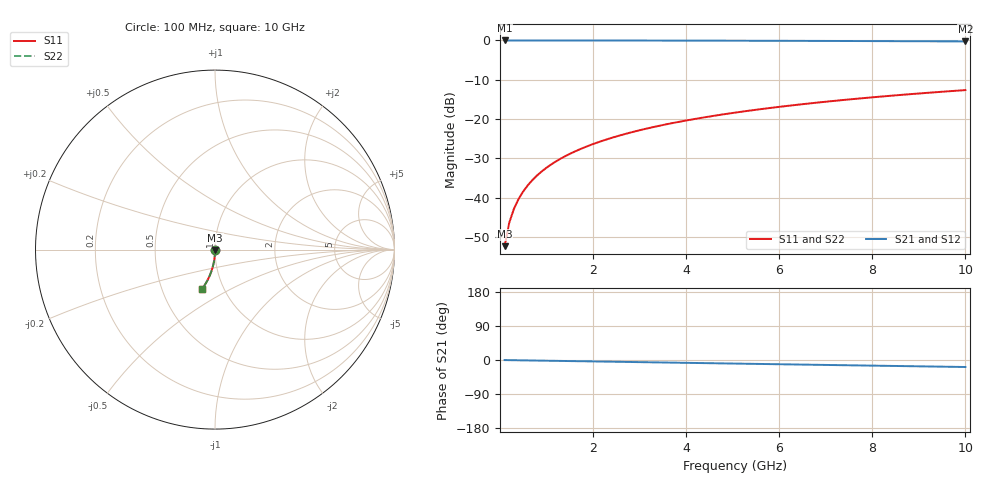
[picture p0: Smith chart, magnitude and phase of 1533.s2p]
# Hz S RI R 50.00
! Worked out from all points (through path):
!   100 points, 100 MHz to 10 GHz, reference 50 ohm
!   highest |S21| = 0.00 dB at 100 MHz (marker M1); lowest = -0.2 dB at 10 GHz (marker M2)
!   group delay of S21, straight-line fit = 5.14 ps
!   lowest |S11| = -52.3 dB at 100 MHz (marker M3), VSWR 1.00, Z = 50 - j0.241 ohm
!   |S11| at or under -10 dB: start of sweep to end of sweep
!   |S22| runs from -52.3 to -12.6 dB; largest |S21 - S12| = 0
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1e8  0.000271 -0.00241  0.9997 -0.00327  0.9997 -0.00327  0.000271 -0.00241
2e8  0.000246 -0.00482  0.9997 -0.00654  0.9997 -0.00654  0.000246 -0.00482
3e8  0.000205 -0.00724  0.9996 -0.00981  0.9996 -0.00981  0.000205 -0.00724
4e8  0.000149 -0.00965  0.9996 -0.0131  0.9996 -0.0131  0.000149 -0.00965
5e8  7.6e-05 -0.0121  0.9995 -0.0163  0.9995 -0.0163  7.6e-05 -0.0121
6e8  -1.26e-05 -0.0145  0.9994 -0.0196  0.9994 -0.0196  -1.26e-05 -0.0145
7e8  -0.000117 -0.0169  0.9993 -0.0229  0.9993 -0.0229  -0.000117 -0.0169
8e8  -0.000237 -0.0193  0.9992 -0.0261  0.9992 -0.0261  -0.000237 -0.0193
9e8  -0.000373 -0.0217  0.999 -0.0294  0.999 -0.0294  -0.000373 -0.0217
1.1e9  -0.000692 -0.0265  0.9987 -0.0359  0.9987 -0.0359  -0.000692 -0.0265
1.4e9  -0.00129 -0.0337  0.9981 -0.0457  0.9981 -0.0457  -0.00129 -0.0337
1.8e9  -0.0023 -0.0433  0.997 -0.0587  0.997 -0.0587  -0.0023 -0.0433
2.1e9  -0.00323 -0.0505  0.996 -0.0685  0.996 -0.0685  -0.00323 -0.0505
2.5e9  -0.00468 -0.06  0.9945 -0.0814  0.9945 -0.0814  -0.00468 -0.06
2.9e9  -0.00638 -0.0695  0.9927 -0.0943  0.9927 -0.0943  -0.00638 -0.0695
3.4e9  -0.00885 -0.0812  0.9901 -0.1104  0.9901 -0.1104  -0.00885 -0.0812
4.2e9  -0.0136 -0.0998  0.9852 -0.1359  0.9852 -0.1359  -0.0136 -0.0998
5.1e9  -0.02 -0.1204  0.9784 -0.1642  0.9784 -0.1642  -0.02 -0.1204
5.9e9  -0.0267 -0.1383  0.9713 -0.189  0.9713 -0.189  -0.0267 -0.1383
6.7e9  -0.0343 -0.1557  0.9634 -0.2133  0.9634 -0.2133  -0.0343 -0.1557
8.4e9  -0.0532 -0.191  0.9435 -0.2633  0.9435 -0.2633  -0.0532 -0.191
1e10  -0.0741 -0.2218  0.9215 -0.3081  0.9215 -0.3081  -0.0741 -0.2218
